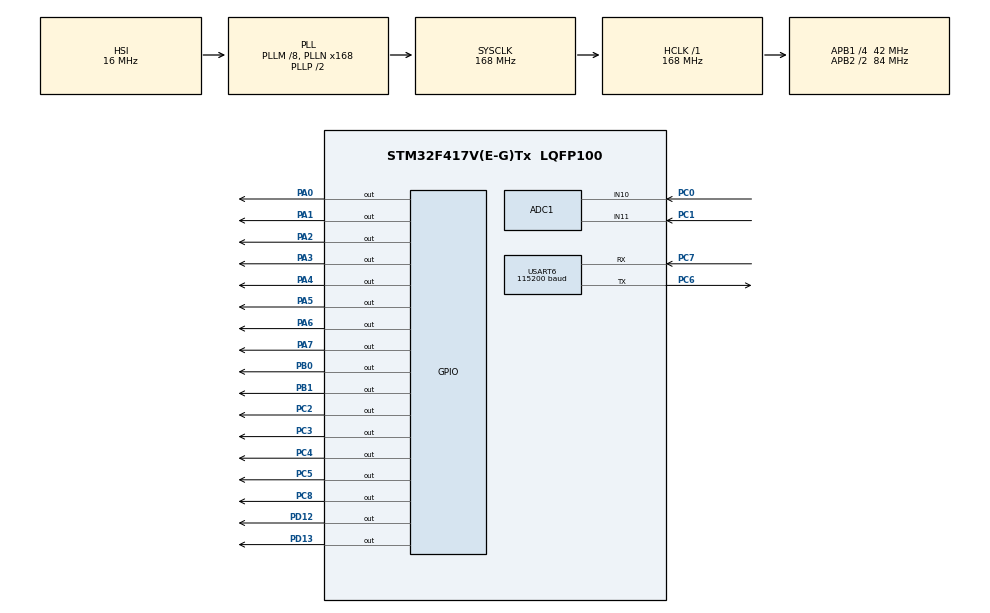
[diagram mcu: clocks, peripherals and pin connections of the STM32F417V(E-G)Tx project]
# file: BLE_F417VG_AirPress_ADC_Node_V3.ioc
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ADC1.Channel-1\#ChannelRegularConversion=ADC_CHANNEL_10
ADC1.Channel-2\#ChannelRegularConversion=ADC_CHANNEL_11
ADC1.DiscontinuousConvMode=ENABLE
ADC1.NbrOfConversion=2
ADC1.NbrOfConversionFlag=1
ADC1.Rank-1\#ChannelRegularConversion=1
ADC1.Rank-2\#ChannelRegularConversion=2
ADC1.SamplingTime-1\#ChannelRegularConversion=ADC_SAMPLETIME_3CYCLES
ADC1.SamplingTime-2\#ChannelRegularConversion=ADC_SAMPLETIME_3CYCLES
ADC1.master=1
IWDG.Prescaler=IWDG_PRESCALER_64
IWDG.Reload=2500
Mcu.Family=STM32F4
Mcu.Name=STM32F417V(E-G)Tx
Mcu.Package=LQFP100
NVIC.PriorityGroup=NVIC_PRIORITYGROUP_4
NVIC.TIM2_IRQn=true\:0\:0\:false\:false\:true\:true\:true\:true
NVIC.USART6_IRQn=true\:0\:0\:false\:false\:true\:true\:true\:true
PA0-WKUP.GPIO_PuPd=GPIO_PULLDOWN
PA0-WKUP.Signal=GPIO_Output
PA1.GPIO_PuPd=GPIO_PULLDOWN
PA1.Signal=GPIO_Output
PA2.GPIO_PuPd=GPIO_PULLDOWN
PA2.Signal=GPIO_Output
PA3.GPIO_PuPd=GPIO_PULLDOWN
PA3.Signal=GPIO_Output
PA4.GPIO_PuPd=GPIO_PULLDOWN
PA4.Signal=GPIO_Output
PA5.GPIO_PuPd=GPIO_PULLDOWN
PA5.Signal=GPIO_Output
PA6.GPIO_PuPd=GPIO_PULLDOWN
PA6.Signal=GPIO_Output
PA7.GPIO_PuPd=GPIO_PULLDOWN
PA7.Signal=GPIO_Output
PB0.GPIO_PuPd=GPIO_PULLDOWN
PB0.Signal=GPIO_Output
PB1.GPIO_PuPd=GPIO_PULLDOWN
PB1.Signal=GPIO_Output
PC0.Signal=ADCx_IN10
PC1.Signal=ADCx_IN11
PC2.GPIO_PuPd=GPIO_PULLDOWN
PC2.Signal=GPIO_Output
PC3.GPIO_PuPd=GPIO_PULLDOWN
PC3.Signal=GPIO_Output
PC4.GPIO_PuPd=GPIO_PULLDOWN
PC4.Signal=GPIO_Output
PC5.GPIO_PuPd=GPIO_PULLDOWN
PC5.Signal=GPIO_Output
PC6.Mode=Asynchronous
PC6.Signal=USART6_TX
PC7.Mode=Asynchronous
PC7.Signal=USART6_RX
PC8.GPIO_PuPd=GPIO_PULLUP
PC8.PinState=GPIO_PIN_SET
PC8.Signal=GPIO_Output
PD12.Signal=GPIO_Output
PD13.Signal=GPIO_Output
ProjectManager.HeapSize=0x200
ProjectManager.StackSize=0x400
ProjectManager.TargetToolchain=STM32CubeIDE
RCC.48MHZClocksFreq_Value=84000000
RCC.AHBFreq_Value=168000000
RCC.APB1CLKDivider=RCC_HCLK_DIV4
RCC.APB1Freq_Value=42000000
RCC.APB1TimFreq_Value=84000000
RCC.APB2CLKDivider=RCC_HCLK_DIV2
RCC.APB2Freq_Value=84000000
RCC.APB2TimFreq_Value=168000000
RCC.CortexFreq_Value=168000000
RCC.HCLKFreq_Value=168000000
RCC.HSE_VALUE=25000000
RCC.HSI_VALUE=16000000
RCC.LSE_VALUE=32768
RCC.PLLM=8
RCC.PLLN=168
RCC.SYSCLKFreq_VALUE=168000000
RCC.SYSCLKSource=RCC_SYSCLKSOURCE_PLLCLK
RCC.VCOOutputFreq_Value=336000000
SH.ADCx_IN10.0=ADC1_IN10,IN10
SH.ADCx_IN11.0=ADC1_IN11,IN11
TIM2.Period=10000-1
TIM2.Prescaler=8400-1
USART6.BaudRate=115200
USART6.VirtualMode=VM_ASYNC
VP_IWDG_VS_IWDG.Mode=IWDG_Activate
VP_TIM2_VS_ClockSourceINT.Mode=Internal
board=custom

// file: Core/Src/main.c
/* USER CODE BEGIN Header */
/**
  ******************************************************************************
  * @file           : main.c
  * @brief          : Main program body
  ******************************************************************************
  * @attention
  *
  * <h2><center>&copy; Copyright (c) 2019 STMicroelectronics.
  * All rights reserved.</center></h2>
  *
  * This software component is licensed by ST under BSD 3-Clause license,
  * the "License"; You may not use this file except in compliance with the
  * License. You may obtain a copy of the License at:
  *                        opensource.org/licenses/BSD-3-Clause
  *
  ******************************************************************************
  **PCB Version: F417_ADC_V3
  */
/* USER CODE END Header */
#include "main.h"

/* USER CODE BEGIN PTD */
USART_BLE USARTBLE;	//--Wayne20191211
ADC1_t ADC_1;
/* USER CODE END PTD */

ADC_HandleTypeDef hadc1;

IWDG_HandleTypeDef hiwdg;

TIM_HandleTypeDef htim2;

UART_HandleTypeDef huart6;

void SystemClock_Config(void);
static void MX_GPIO_Init(void);
static void MX_ADC1_Init(void);
static void MX_TIM2_Init(void);
static void MX_USART6_UART_Init(void);
static void MX_IWDG_Init(void);

int main(void)
{

  /* MCU Configuration--------------------------------------------------------*/

  /* Reset of all peripherals, Initializes the Flash interface and the Systick. */
  HAL_Init();

  /* Configure the system clock */
  SystemClock_Config();

  /* Initialize all configured peripherals */
  MX_GPIO_Init();
  MX_ADC1_Init();
  MX_TIM2_Init();
  MX_USART6_UART_Init();
  MX_IWDG_Init();
  /* USER CODE BEGIN 2 */
  //TODO:--Wayne20210618
  HAL_TIM_Base_Start_IT(&htim2);//UART TIM
  BLE_Status_Init(&huart6);
  /* USER CODE END 2 */

  /* Infinite loop */
  while (1)
  {

    /* USER CODE BEGIN 3 */
	  ADC1_Conv(&hadc1);
	  BLE_USART(&huart6, &hadc1);
	  //IWDG_Refresh, reload:5sec
	  HAL_IWDG_Refresh(&hiwdg);
  }
  /* USER CODE END 3 */
}

void SystemClock_Config(void)
{
  RCC_OscInitTypeDef RCC_OscInitStruct = {0};
  RCC_ClkInitTypeDef RCC_ClkInitStruct = {0};

  /** Configure the main internal regulator output voltage
  */
  __HAL_RCC_PWR_CLK_ENABLE();
  __HAL_PWR_VOLTAGESCALING_CONFIG(PWR_REGULATOR_VOLTAGE_SCALE1);
  /** Initializes the RCC Oscillators according to the specified parameters
  * in the RCC_OscInitTypeDef structure.
  */
  RCC_OscInitStruct.OscillatorType = RCC_OSCILLATORTYPE_HSI|RCC_OSCILLATORTYPE_LSI;
  RCC_OscInitStruct.HSIState = RCC_HSI_ON;
  RCC_OscInitStruct.HSICalibrationValue = RCC_HSICALIBRATION_DEFAULT;
  RCC_OscInitStruct.LSIState = RCC_LSI_ON;
  RCC_OscInitStruct.PLL.PLLState = RCC_PLL_ON;
  RCC_OscInitStruct.PLL.PLLSource = RCC_PLLSOURCE_HSI;
  RCC_OscInitStruct.PLL.PLLM = 8;
  RCC_OscInitStruct.PLL.PLLN = 168;
  RCC_OscInitStruct.PLL.PLLP = RCC_PLLP_DIV2;
  RCC_OscInitStruct.PLL.PLLQ = 4;
  if (HAL_RCC_OscConfig(&RCC_OscInitStruct) != HAL_OK)
  {
    Error_Handler();
  }
  /** Initializes the CPU, AHB and APB buses clocks
  */
  RCC_ClkInitStruct.ClockType = RCC_CLOCKTYPE_HCLK|RCC_CLOCKTYPE_SYSCLK
                              |RCC_CLOCKTYPE_PCLK1|RCC_CLOCKTYPE_PCLK2;
  RCC_ClkInitStruct.SYSCLKSource = RCC_SYSCLKSOURCE_PLLCLK;
  RCC_ClkInitStruct.AHBCLKDivider = RCC_SYSCLK_DIV1;
  RCC_ClkInitStruct.APB1CLKDivider = RCC_HCLK_DIV4;
  RCC_ClkInitStruct.APB2CLKDivider = RCC_HCLK_DIV2;

  if (HAL_RCC_ClockConfig(&RCC_ClkInitStruct, FLASH_LATENCY_5) != HAL_OK)
  {
    Error_Handler();
  }
}

static void MX_ADC1_Init(void)
{

  ADC_ChannelConfTypeDef sConfig = {0};

  /** Configure the global features of the ADC (Clock, Resolution, Data Alignment and number of conversion)
  */
  hadc1.Instance = ADC1;
  hadc1.Init.ClockPrescaler = ADC_CLOCK_SYNC_PCLK_DIV4;
  hadc1.Init.Resolution = ADC_RESOLUTION_12B;
  hadc1.Init.ScanConvMode = ENABLE;
  hadc1.Init.ContinuousConvMode = DISABLE;
  hadc1.Init.DiscontinuousConvMode = ENABLE;
  hadc1.Init.NbrOfDiscConversion = 1;
  hadc1.Init.ExternalTrigConvEdge = ADC_EXTERNALTRIGCONVEDGE_NONE;
  hadc1.Init.ExternalTrigConv = ADC_SOFTWARE_START;
  hadc1.Init.DataAlign = ADC_DATAALIGN_RIGHT;
  hadc1.Init.NbrOfConversion = 2;
  hadc1.Init.DMAContinuousRequests = DISABLE;
  hadc1.Init.EOCSelection = ADC_EOC_SINGLE_CONV;
  if (HAL_ADC_Init(&hadc1) != HAL_OK)
  {
    Error_Handler();
  }
  /** Configure for the selected ADC regular channel its corresponding rank in the sequencer and its sample time.
  */
  sConfig.Channel = ADC_CHANNEL_10;
  sConfig.Rank = 1;
  sConfig.SamplingTime = ADC_SAMPLETIME_3CYCLES;
  if (HAL_ADC_ConfigChannel(&hadc1, &sConfig) != HAL_OK)
  {
    Error_Handler();
  }
  /** Configure for the selected ADC regular channel its corresponding rank in the sequencer and its sample time.
  */
  sConfig.Channel = ADC_CHANNEL_11;
  sConfig.Rank = 2;
  if (HAL_ADC_ConfigChannel(&hadc1, &sConfig) != HAL_OK)
  {
    Error_Handler();
  }

}

static void MX_IWDG_Init(void)
{

  hiwdg.Instance = IWDG;
  hiwdg.Init.Prescaler = IWDG_PRESCALER_64;
  hiwdg.Init.Reload = 2500;
  if (HAL_IWDG_Init(&hiwdg) != HAL_OK)
  {
    Error_Handler();
  }

}

static void MX_TIM2_Init(void)
{

  TIM_ClockConfigTypeDef sClockSourceConfig = {0};
  TIM_MasterConfigTypeDef sMasterConfig = {0};

  htim2.Instance = TIM2;
  htim2.Init.Prescaler = 8400-1;
  htim2.Init.CounterMode = TIM_COUNTERMODE_UP;
  htim2.Init.Period = 10000-1;
  htim2.Init.ClockDivision = TIM_CLOCKDIVISION_DIV1;
  htim2.Init.AutoReloadPreload = TIM_AUTORELOAD_PRELOAD_DISABLE;
  if (HAL_TIM_Base_Init(&htim2) != HAL_OK)
  {
    Error_Handler();
  }
  sClockSourceConfig.ClockSource = TIM_CLOCKSOURCE_INTERNAL;
  if (HAL_TIM_ConfigClockSource(&htim2, &sClockSourceConfig) != HAL_OK)
  {
    Error_Handler();
  }
  sMasterConfig.MasterOutputTrigger = TIM_TRGO_RESET;
  sMasterConfig.MasterSlaveMode = TIM_MASTERSLAVEMODE_DISABLE;
  if (HAL_TIMEx_MasterConfigSynchronization(&htim2, &sMasterConfig) != HAL_OK)
  {
    Error_Handler();
  }
  /* USER CODE BEGIN TIM2_Init 2 */
  __HAL_TIM_CLEAR_FLAG(&htim2, TIM_SR_UIF);//clear timer flag to reload count
  /* USER CODE END TIM2_Init 2 */

}

static void MX_USART6_UART_Init(void)
{

  huart6.Instance = USART6;
  huart6.Init.BaudRate = 115200;
  huart6.Init.WordLength = UART_WORDLENGTH_8B;
  huart6.Init.StopBits = UART_STOPBITS_1;
  huart6.Init.Parity = UART_PARITY_NONE;
  huart6.Init.Mode = UART_MODE_TX_RX;
  huart6.Init.HwFlowCtl = UART_HWCONTROL_NONE;
  huart6.Init.OverSampling = UART_OVERSAMPLING_16;
  if (HAL_UART_Init(&huart6) != HAL_OK)
  {
    Error_Handler();
  }

}

static void MX_GPIO_Init(void)
{
  GPIO_InitTypeDef GPIO_InitStruct = {0};

  /* GPIO Ports Clock Enable */
  __HAL_RCC_GPIOC_CLK_ENABLE();
  __HAL_RCC_GPIOA_CLK_ENABLE();
  __HAL_RCC_GPIOB_CLK_ENABLE();
  __HAL_RCC_GPIOD_CLK_ENABLE();

  /*Configure GPIO pin Output Level */
  HAL_GPIO_WritePin(GPIOC, GPIO_PIN_2|GPIO_PIN_3|GPIO_PIN_4|GPIO_PIN_5, GPIO_PIN_RESET);

  /*Configure GPIO pin Output Level */
  HAL_GPIO_WritePin(GPIOA, GPIO_PIN_0|GPIO_PIN_1|GPIO_PIN_2|GPIO_PIN_3
                          |GPIO_PIN_4|GPIO_PIN_5|GPIO_PIN_6|GPIO_PIN_7, GPIO_PIN_RESET);

  /*Configure GPIO pin Output Level */
  HAL_GPIO_WritePin(GPIOB, GPIO_PIN_0|GPIO_PIN_1, GPIO_PIN_RESET);

  /*Configure GPIO pin Output Level */
  HAL_GPIO_WritePin(GPIOD, GPIO_PIN_12|GPIO_PIN_13, GPIO_PIN_RESET);

  /*Configure GPIO pin Output Level */
  HAL_GPIO_WritePin(GPIOC, GPIO_PIN_8, GPIO_PIN_SET);

  /*Configure GPIO pins : PC2 PC3 PC4 PC5 */
  GPIO_InitStruct.Pin = GPIO_PIN_2|GPIO_PIN_3|GPIO_PIN_4|GPIO_PIN_5;
  GPIO_InitStruct.Mode = GPIO_MODE_OUTPUT_PP;
  GPIO_InitStruct.Pull = GPIO_PULLDOWN;
  GPIO_InitStruct.Speed = GPIO_SPEED_FREQ_LOW;
  HAL_GPIO_Init(GPIOC, &GPIO_InitStruct);

  /*Configure GPIO pins : PA0 PA1 PA2 PA3
                           PA4 PA5 PA6 PA7 */
  GPIO_InitStruct.Pin = GPIO_PIN_0|GPIO_PIN_1|GPIO_PIN_2|GPIO_PIN_3
                          |GPIO_PIN_4|GPIO_PIN_5|GPIO_PIN_6|GPIO_PIN_7;
  GPIO_InitStruct.Mode = GPIO_MODE_OUTPUT_PP;
  GPIO_InitStruct.Pull = GPIO_PULLDOWN;
  GPIO_InitStruct.Speed = GPIO_SPEED_FREQ_LOW;
  HAL_GPIO_Init(GPIOA, &GPIO_InitStruct);

  /*Configure GPIO pins : PB0 PB1 */
  GPIO_InitStruct.Pin = GPIO_PIN_0|GPIO_PIN_1;
  GPIO_InitStruct.Mode = GPIO_MODE_OUTPUT_PP;
  GPIO_InitStruct.Pull = GPIO_PULLDOWN;
  GPIO_InitStruct.Speed = GPIO_SPEED_FREQ_LOW;
  HAL_GPIO_Init(GPIOB, &GPIO_InitStruct);

  /*Configure GPIO pins : PD12 PD13 */
  GPIO_InitStruct.Pin = GPIO_PIN_12|GPIO_PIN_13;
  GPIO_InitStruct.Mode = GPIO_MODE_OUTPUT_PP;
  GPIO_InitStruct.Pull = GPIO_NOPULL;
  GPIO_InitStruct.Speed = GPIO_SPEED_FREQ_LOW;
  HAL_GPIO_Init(GPIOD, &GPIO_InitStruct);

  /*Configure GPIO pin : PC8 */
  GPIO_InitStruct.Pin = GPIO_PIN_8;
  GPIO_InitStruct.Mode = GPIO_MODE_OUTPUT_PP;
  GPIO_InitStruct.Pull = GPIO_PULLUP;
  GPIO_InitStruct.Speed = GPIO_SPEED_FREQ_LOW;
  HAL_GPIO_Init(GPIOC, &GPIO_InitStruct);

}

/* USER CODE BEGIN 4 */
void HAL_TIM_PeriodElapsedCallback(TIM_HandleTypeDef *htim)//--Wayne20191211
{
	 if (htim->Instance == htim2.Instance)
	 {
		 USARTBLE.sendflag = 1;
	 }
}
void HAL_UART_RxCpltCallback(UART_HandleTypeDef *huart)
{
  /* Prevent unused argument(s) compilation warning */
  UNUSED(huart6);

  /* NOTE : This function should not be modified, when the callback is needed,
            the HAL_UART_RxCpltCallback can be implemented in the user file
   */
  USARTBLE.RevData[USARTBLE.RxCount++]= USARTBLE.Rbuffer;
  if(USARTBLE.Rbuffer==0x0A)//when receive 0x0a("\n" Line feeds string),it is a effective command, Send a receive flag.
  	{
	  USARTBLE.Revflag = 1;
	  USARTBLE.RxCount=0;
  	}
  	if(USARTBLE.RxCount>=24)//no  "\n" Line feeds string full over to 24 byte, clear data
  	{
  		USARTBLE.RxCount=0;
  		memset( USARTBLE.RevData, 0, strlen(USARTBLE.RevData) ); //clear Receive data
  	}

  while(HAL_UART_Receive_IT(&huart6,&USARTBLE.Rbuffer,1)==HAL_OK);
}
/* USER CODE END 4 */

void Error_Handler(void)
{
}

/************************ (C) COPYRIGHT STMicroelectronics *****END OF FILE****/
